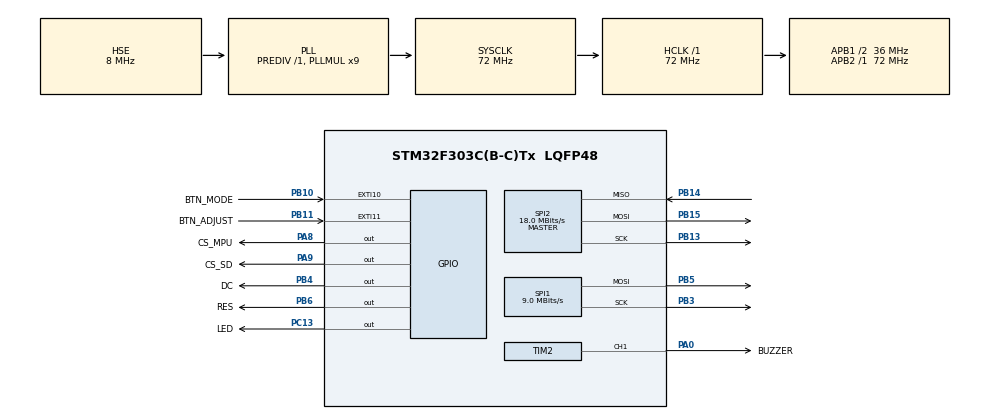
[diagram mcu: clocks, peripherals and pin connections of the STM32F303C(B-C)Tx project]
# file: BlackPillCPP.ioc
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FATFS._USE_LFN=1
Mcu.Family=STM32F3
Mcu.Name=STM32F303C(B-C)Tx
Mcu.Package=LQFP48
NVIC.EXTI15_10_IRQn=true\:1\:0\:true\:false\:true\:true\:true
NVIC.PriorityGroup=NVIC_PRIORITYGROUP_4
NVIC.TIM3_IRQn=true\:0\:0\:false\:false\:true\:true\:true
NVIC.TIM4_IRQn=true\:0\:0\:false\:false\:true\:true\:true
NVIC.TIM8_BRK_IRQn=true\:0\:0\:false\:false\:true\:true\:true
NVIC.TIM8_CC_IRQn=true\:0\:0\:false\:false\:true\:true\:true
NVIC.TIM8_TRG_COM_IRQn=true\:0\:0\:false\:false\:true\:true\:true
NVIC.TIM8_UP_IRQn=true\:0\:0\:false\:false\:true\:true\:true
PA0.GPIO_Label=BUZZER
PA0.Signal=S_TIM2_CH1_ETR
PA13.Mode=Serial_Wire
PA13.Signal=SYS_JTMS-SWDIO
PA14.Mode=Serial_Wire
PA14.Signal=SYS_JTCK-SWCLK
PA8.GPIO_Label=CS_MPU
PA8.GPIO_Speed=GPIO_SPEED_FREQ_HIGH
PA8.PinState=GPIO_PIN_SET
PA8.Signal=GPIO_Output
PA9.GPIO_Label=CS_SD
PA9.GPIO_Speed=GPIO_SPEED_FREQ_HIGH
PA9.PinState=GPIO_PIN_SET
PA9.Signal=GPIO_Output
PB10.GPIO_Label=BTN_MODE
PB10.GPIO_ModeDefaultEXTI=GPIO_MODE_IT_FALLING
PB10.Signal=GPXTI10
PB11.GPIO_Label=BTN_ADJUST
PB11.GPIO_ModeDefaultEXTI=GPIO_MODE_IT_FALLING
PB11.Signal=GPXTI11
PB13.Mode=Full_Duplex_Master
PB13.Signal=SPI2_SCK
PB14.Mode=Full_Duplex_Master
PB14.Signal=SPI2_MISO
PB15.Mode=Full_Duplex_Master
PB15.Signal=SPI2_MOSI
PB3.Mode=TX_Only_Simplex_Unidirect_Master
PB3.Signal=SPI1_SCK
PB4.GPIO_Label=DC
PB4.GPIO_Speed=GPIO_SPEED_FREQ_HIGH
PB4.Signal=GPIO_Output
PB5.Mode=TX_Only_Simplex_Unidirect_Master
PB5.Signal=SPI1_MOSI
PB6.GPIO_Label=RES
PB6.GPIO_Speed=GPIO_SPEED_FREQ_HIGH
PB6.Signal=GPIO_Output
PC13.GPIO_Label=LED
PC13.Signal=GPIO_Output
PF0-OSC_IN.Mode=HSE-External-Oscillator
PF0-OSC_IN.Signal=RCC_OSC_IN
PF1-OSC_OUT.Mode=HSE-External-Oscillator
PF1-OSC_OUT.Signal=RCC_OSC_OUT
ProjectManager.HeapSize=0x200
ProjectManager.StackSize=0x400
ProjectManager.TargetToolchain=STM32CubeIDE
RCC.AHBFreq_Value=72000000
RCC.APB1CLKDivider=RCC_HCLK_DIV2
RCC.APB1Freq_Value=36000000
RCC.APB1TimFreq_Value=72000000
RCC.APB2Freq_Value=72000000
RCC.APB2TimFreq_Value=72000000
RCC.CortexFreq_Value=72000000
RCC.HCLKFreq_Value=72000000
RCC.HSE_VALUE=8000000
RCC.HSI_VALUE=8000000
RCC.LSE_VALUE=32768
RCC.PLLMUL=RCC_PLL_MUL9
RCC.PLLSourceVirtual=RCC_PLLSOURCE_HSE
RCC.SYSCLKFreq_VALUE=72000000
RCC.SYSCLKSourceVirtual=RCC_SYSCLKSOURCE_PLLCLK
RCC.USBFreq_Value=72000000
SH.S_TIM2_CH1_ETR.0=TIM2_CH1,PWM Generation1 CH1
SPI1.BaudRatePrescaler=SPI_BAUDRATEPRESCALER_8
SPI1.CLKPhase=SPI_PHASE_2EDGE
SPI1.CLKPolarity=SPI_POLARITY_HIGH
SPI1.CRCCalculation=SPI_CRCCALCULATION_DISABLE
SPI1.CalculateBaudRate=9.0 MBits/s
SPI1.DataSize=SPI_DATASIZE_8BIT
SPI1.Direction=SPI_DIRECTION_2LINES
SPI1.FirstBit=SPI_FIRSTBIT_MSB
SPI1.Mode=SPI_MODE_MASTER
SPI1.VirtualType=VM_MASTER
SPI2.BaudRatePrescaler=SPI_BAUDRATEPRESCALER_2
SPI2.CLKPhase=SPI_PHASE_2EDGE
SPI2.CLKPolarity=SPI_POLARITY_HIGH
SPI2.CalculateBaudRate=18.0 MBits/s
SPI2.DataSize=SPI_DATASIZE_8BIT
SPI2.Direction=SPI_DIRECTION_2LINES
SPI2.Mode=SPI_MODE_MASTER
SPI2.VirtualType=VM_MASTER
TIM2.Channel-PWM\ Generation1\ CH1=TIM_CHANNEL_1
TIM2.Period=255
TIM2.Prescaler=580
TIM3.AutoReloadPreload=TIM_AUTORELOAD_PRELOAD_DISABLE
TIM3.Period=2*(50)-1
TIM3.Prescaler=36000-1
TIM4.Period=2*(2)-1
TIM4.Prescaler=36000-1
TIM8.Period=2*(1000)-1
TIM8.Prescaler=36000-1
VP_FATFS_VS_Generic.Mode=User_defined
VP_TIM2_VS_ClockSourceINT.Mode=Internal
VP_TIM3_VS_ClockSourceINT.Mode=Internal
VP_TIM4_VS_ClockSourceINT.Mode=Internal
VP_TIM8_VS_ClockSourceINT.Mode=Internal
board=custom

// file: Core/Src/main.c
/* USER CODE BEGIN Header */
/**
  ******************************************************************************
  * @file           : main.c
  * @brief          : Main program body
  ******************************************************************************
  * @attention
  *
  * <h2><center>&copy; Copyright (c) 2019 STMicroelectronics.
  * All rights reserved.</center></h2>
  *
  * This software component is licensed by ST under BSD 3-Clause license,
  * the "License"; You may not use this file except in compliance with the
  * License. You may obtain a copy of the License at:
  *                        opensource.org/licenses/BSD-3-Clause
  *
  ******************************************************************************
  */
/* USER CODE END Header */

#include "main.h"
#include "fatfs.h"
#include "spi.h"
#include "tim.h"
#include "gpio.h"

/* USER CODE BEGIN Includes */

//#include "ST7789/LCD_Driver.h"
//#include "ST7789/GUI_Paint.h"
//#include "ST7789/fonts.h"

//#include "MPU9250/MPU9250.h"
//#include "SD_SPI/fatfs_sd.h"

#include <stdio.h>

#include "Context.h"
#include "ST7789/st7789.h"

/* USER CODE END Includes */

void SystemClock_Config(void);

/* USER CODE BEGIN 0 */
extern volatile ContextData ctx;
/* USER CODE END 0 */

int main(void)
{

  /* MCU Configuration--------------------------------------------------------*/

  /* Reset of all peripherals, Initializes the Flash interface and the Systick. */
  HAL_Init();

  /* Configure the system clock */
  SystemClock_Config();

  /* Initialize all configured peripherals */
  MX_GPIO_Init();
  MX_SPI2_Init();
  MX_TIM2_Init();
  MX_SPI1_Init();
  MX_TIM3_Init();
  MX_FATFS_Init();
  MX_TIM4_Init();
  MX_TIM8_Init();
  /* USER CODE BEGIN 2 */

  /*	Initialize hardware		*/
  ProgramInit();

  //fresult = f_close(&fil);

  /* USER CODE END 2 */

  /* Infinite loop */
  /* USER CODE BEGIN WHILE */
  while (1)
  {
	  //MPU_readSensor();
	  //DisplayDebug();

    /* USER CODE END WHILE */

    /* USER CODE BEGIN 3 */

	  AwaitForSignal();
  }
  /* USER CODE END 3 */
}

void SystemClock_Config(void)
{
  RCC_OscInitTypeDef RCC_OscInitStruct = {0};
  RCC_ClkInitTypeDef RCC_ClkInitStruct = {0};
  RCC_PeriphCLKInitTypeDef PeriphClkInit = {0};

  /** Initializes the CPU, AHB and APB busses clocks
  */
  RCC_OscInitStruct.OscillatorType = RCC_OSCILLATORTYPE_HSE;
  RCC_OscInitStruct.HSEState = RCC_HSE_ON;
  RCC_OscInitStruct.HSEPredivValue = RCC_HSE_PREDIV_DIV1;
  RCC_OscInitStruct.HSIState = RCC_HSI_ON;
  RCC_OscInitStruct.PLL.PLLState = RCC_PLL_ON;
  RCC_OscInitStruct.PLL.PLLSource = RCC_PLLSOURCE_HSE;
  RCC_OscInitStruct.PLL.PLLMUL = RCC_PLL_MUL9;
  if (HAL_RCC_OscConfig(&RCC_OscInitStruct) != HAL_OK)
  {
    Error_Handler();
  }
  /** Initializes the CPU, AHB and APB busses clocks
  */
  RCC_ClkInitStruct.ClockType = RCC_CLOCKTYPE_HCLK|RCC_CLOCKTYPE_SYSCLK
                              |RCC_CLOCKTYPE_PCLK1|RCC_CLOCKTYPE_PCLK2;
  RCC_ClkInitStruct.SYSCLKSource = RCC_SYSCLKSOURCE_PLLCLK;
  RCC_ClkInitStruct.AHBCLKDivider = RCC_SYSCLK_DIV1;
  RCC_ClkInitStruct.APB1CLKDivider = RCC_HCLK_DIV2;
  RCC_ClkInitStruct.APB2CLKDivider = RCC_HCLK_DIV1;

  if (HAL_RCC_ClockConfig(&RCC_ClkInitStruct, FLASH_LATENCY_2) != HAL_OK)
  {
    Error_Handler();
  }
  PeriphClkInit.PeriphClockSelection = RCC_PERIPHCLK_TIM8;
  PeriphClkInit.Tim8ClockSelection = RCC_TIM8CLK_HCLK;
  if (HAL_RCCEx_PeriphCLKConfig(&PeriphClkInit) != HAL_OK)
  {
    Error_Handler();
  }
}

/* USER CODE BEGIN 4 */
void HAL_GPIO_EXTI_Callback(uint16_t GPIO_Pin)
{
	switch(GPIO_Pin)
	{
		//Button press to change display screen
		case BTN_MODE_Pin:
		{
			SetToChangeDisplayMode();
			break;
		}

		//Button press to calibrate data
		case BTN_ADJUST_Pin:
		{
			SetToCalibrate();
			break;
		}

		default: break;
	}
}

void HAL_TIM_PeriodElapsedCallback(TIM_HandleTypeDef *htim)
{
	//get the new readings from sensors
	if(htim->Instance == TIM4)
	{
		//reading the data should be consistant so we need to do it here instead of setting flag
		ProcessValues();
	}

	//set flag to update display
	else if( htim->Instance == TIM3)
	{
		SetToUpdateDisplay();
		//HAL_GPIO_TogglePin(LED_GPIO_Port, LED_Pin);
	}

	//set flag to save data to SD card
	else if( htim->Instance == TIM8)
	{
		SetToSaveData();
		HAL_GPIO_TogglePin(LED_GPIO_Port, LED_Pin);
	}

	else {}
}
/* USER CODE END 4 */

void Error_Handler(void)
{
}

/************************ (C) COPYRIGHT STMicroelectronics *****END OF FILE****/
